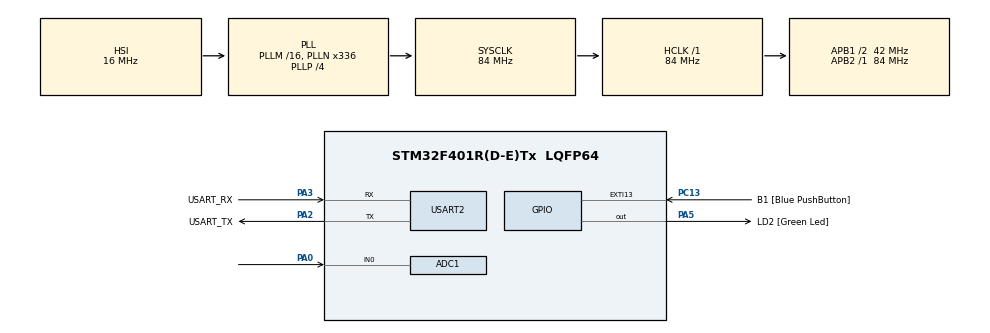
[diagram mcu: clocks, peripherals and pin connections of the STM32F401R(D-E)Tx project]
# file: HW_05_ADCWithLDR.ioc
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ADC1.Channel-1\#ChannelRegularConversion=ADC_CHANNEL_0
ADC1.DMAContinuousRequests=ENABLE
ADC1.ExternalTrigConv=ADC_EXTERNALTRIGCONV_T2_TRGO
ADC1.NbrOfConversion=1
ADC1.NbrOfConversionFlag=1
ADC1.Rank-1\#ChannelRegularConversion=1
ADC1.SamplingTime-1\#ChannelRegularConversion=ADC_SAMPLETIME_480CYCLES
ADC1.master=1
Dma.ADC1.0.Direction=DMA_PERIPH_TO_MEMORY
Dma.ADC1.0.FIFOMode=DMA_FIFOMODE_DISABLE
Dma.ADC1.0.Instance=DMA2_Stream0
Dma.ADC1.0.MemDataAlignment=DMA_MDATAALIGN_HALFWORD
Dma.ADC1.0.MemInc=DMA_MINC_ENABLE
Dma.ADC1.0.Mode=DMA_CIRCULAR
Dma.ADC1.0.PeriphDataAlignment=DMA_PDATAALIGN_HALFWORD
Dma.ADC1.0.PeriphInc=DMA_PINC_DISABLE
Dma.ADC1.0.Priority=DMA_PRIORITY_LOW
Dma.Request0=ADC1
Mcu.Family=STM32F4
Mcu.Name=STM32F401R(D-E)Tx
Mcu.Package=LQFP64
NVIC.ADC_IRQn=true\:0\:0\:false\:false\:true\:true\:true\:true
NVIC.DMA2_Stream0_IRQn=true\:0\:0\:false\:false\:true\:false\:true\:true
NVIC.PriorityGroup=NVIC_PRIORITYGROUP_0
PA0-WKUP.Signal=ADCx_IN0
PA13.GPIO_Label=TMS
PA13.Mode=Serial_Wire
PA13.Signal=SYS_JTMS-SWDIO
PA14.GPIO_Label=TCK
PA14.Mode=Serial_Wire
PA14.Signal=SYS_JTCK-SWCLK
PA2.GPIO_Label=USART_TX
PA2.GPIO_Mode=GPIO_MODE_AF_PP
PA2.GPIO_PuPd=GPIO_NOPULL
PA2.GPIO_Speed=GPIO_SPEED_FREQ_LOW
PA2.Mode=Asynchronous
PA2.Signal=USART2_TX
PA3.GPIO_Label=USART_RX
PA3.GPIO_Mode=GPIO_MODE_AF_PP
PA3.GPIO_PuPd=GPIO_NOPULL
PA3.GPIO_Speed=GPIO_SPEED_FREQ_LOW
PA3.Mode=Asynchronous
PA3.Signal=USART2_RX
PA5.GPIO_Label=LD2 [Green Led]
PA5.GPIO_Mode=GPIO_MODE_OUTPUT_PP
PA5.GPIO_PuPd=GPIO_NOPULL
PA5.GPIO_Speed=GPIO_SPEED_FREQ_LOW
PA5.Signal=GPIO_Output
PB3.GPIO_Label=SWO
PB3.Signal=SYS_JTDO-SWO
PC13-ANTI_TAMP.GPIO_Label=B1 [Blue PushButton]
PC13-ANTI_TAMP.GPIO_ModeDefaultEXTI=GPIO_MODE_IT_FALLING
PC13-ANTI_TAMP.GPIO_PuPd=GPIO_NOPULL
PC13-ANTI_TAMP.Signal=GPXTI13
PC14-OSC32_IN.Mode=LSE-External-Oscillator
PC14-OSC32_IN.Signal=RCC_OSC32_IN
PC15-OSC32_OUT.Mode=LSE-External-Oscillator
PC15-OSC32_OUT.Signal=RCC_OSC32_OUT
PH0\ -\ OSC_IN.Mode=HSE-External-Clock-Source
PH0\ -\ OSC_IN.Signal=RCC_OSC_IN
PH1\ -\ OSC_OUT.Mode=HSE-External-Clock-Source
PH1\ -\ OSC_OUT.Signal=RCC_OSC_OUT
ProjectManager.HeapSize=0x200
ProjectManager.StackSize=0x400
ProjectManager.TargetToolchain=STM32CubeIDE
RCC.48MHZClocksFreq_Value=48000000
RCC.AHBFreq_Value=84000000
RCC.APB1CLKDivider=RCC_HCLK_DIV2
RCC.APB1Freq_Value=42000000
RCC.APB1TimFreq_Value=84000000
RCC.APB2Freq_Value=84000000
RCC.APB2TimFreq_Value=84000000
RCC.CortexFreq_Value=84000000
RCC.HCLKFreq_Value=84000000
RCC.HSE_VALUE=8000000
RCC.HSI_VALUE=16000000
RCC.PLLN=336
RCC.PLLP=RCC_PLLP_DIV4
RCC.PLLQ=7
RCC.SYSCLKFreq_VALUE=84000000
RCC.SYSCLKSource=RCC_SYSCLKSOURCE_PLLCLK
RCC.VCOOutputFreq_Value=336000000
SH.ADCx_IN0.0=ADC1_IN0,IN0
TIM2.Period=84-1
TIM2.Prescaler=1000-1
TIM2.TIM_MasterOutputTrigger=TIM_TRGO_UPDATE
USART2.VirtualMode=VM_ASYNC
VP_TIM2_VS_ClockSourceINT.Mode=Internal
board=NUCLEO-F401RE

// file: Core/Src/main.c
/* USER CODE BEGIN Header */
/**
 ******************************************************************************
 * @file           : main.c
 * @brief          : Main program body
 ******************************************************************************
 * @attention
 *
 * Copyright (c) 2022 STMicroelectronics.
 * All rights reserved.
 *
 * This software is licensed under terms that can be found in the LICENSE file
 * in the root directory of this software component.
 * If no LICENSE file comes with this software, it is provided AS-IS.
 *
 ******************************************************************************
 */
/* USER CODE END Header */
#include "main.h"

/* USER CODE BEGIN Includes */
#include <stdio.h>
#include <math.h>
/* USER CODE END Includes */

ADC_HandleTypeDef hadc1;
DMA_HandleTypeDef hdma_adc1;

TIM_HandleTypeDef htim2;

UART_HandleTypeDef huart2;

/* USER CODE BEGIN PV */

void computeAvg(int half);
/* USER CODE END PV */

void SystemClock_Config(void);
static void MX_GPIO_Init(void);
static void MX_DMA_Init(void);
static void MX_USART2_UART_Init(void);
static void MX_ADC1_Init(void);
static void MX_TIM2_Init(void);

/* USER CODE BEGIN 0 */

// buffer of size 2000 for precise timing and avoiding overwriting data with DMA
uint16_t samples[2000];

// called after 1000 conversions (1 every 1 ms), so after 1 second
void HAL_ADC_ConvHalfCpltCallback(ADC_HandleTypeDef *hadc) {
	computeAvg(0);
}

// called after 2000 conversions (1 every 1 ms), so after 2 seconds
// this is called 1 second after the half complete callback
void HAL_ADC_ConvCpltCallback(ADC_HandleTypeDef *hadc) {
	computeAvg(1);
}

void computeAvg(int half) {
	float average = 0.0;
	for (int i = 0; i < 1000; i++) {
		average += (float) samples[i + half * 1000];
	}
	// converts values from 0 to 4096 to voltage (up to 3.3v)
	// average computation of the values over the last second of time
	average = average * (3.3 / 4096.0) / 1000.0;

	float ldr = ((average * 100000.0) / (3.3 - average)); // LDR output value
	float lux = 10.0 * pow((100000.0 / ldr), 1.25); // conversion from voltage to LUX
	char string[64]; // output
	int length = snprintf(string, sizeof(string), "Lux level = %.3f\r\n", lux);

	HAL_UART_Transmit(&huart2, (uint8_t*) string, length, 10);
}
/* USER CODE END 0 */

int main(void) {

	/* MCU Configuration--------------------------------------------------------*/

	/* Reset of all peripherals, Initializes the Flash interface and the Systick. */
	HAL_Init();

	/* Configure the system clock */
	SystemClock_Config();

	/* Initialize all configured peripherals */
	MX_GPIO_Init();
	MX_DMA_Init();
	MX_USART2_UART_Init();
	MX_ADC1_Init();
	MX_TIM2_Init();
	/* USER CODE BEGIN 2 */
	HAL_ADC_Start_DMA(&hadc1, (uint32_t*) samples, 2000);
	HAL_TIM_Base_Start(&htim2);
	/* USER CODE END 2 */

	/* Infinite loop */
	while (1) {

	}
}

void SystemClock_Config(void) {
	RCC_OscInitTypeDef RCC_OscInitStruct = { 0 };
	RCC_ClkInitTypeDef RCC_ClkInitStruct = { 0 };

	/** Configure the main internal regulator output voltage
	 */
	__HAL_RCC_PWR_CLK_ENABLE();
	__HAL_PWR_VOLTAGESCALING_CONFIG(PWR_REGULATOR_VOLTAGE_SCALE2);

	/** Initializes the RCC Oscillators according to the specified parameters
	 * in the RCC_OscInitTypeDef structure.
	 */
	RCC_OscInitStruct.OscillatorType = RCC_OSCILLATORTYPE_HSI;
	RCC_OscInitStruct.HSIState = RCC_HSI_ON;
	RCC_OscInitStruct.HSICalibrationValue = RCC_HSICALIBRATION_DEFAULT;
	RCC_OscInitStruct.PLL.PLLState = RCC_PLL_ON;
	RCC_OscInitStruct.PLL.PLLSource = RCC_PLLSOURCE_HSI;
	RCC_OscInitStruct.PLL.PLLM = 16;
	RCC_OscInitStruct.PLL.PLLN = 336;
	RCC_OscInitStruct.PLL.PLLP = RCC_PLLP_DIV4;
	RCC_OscInitStruct.PLL.PLLQ = 7;
	if (HAL_RCC_OscConfig(&RCC_OscInitStruct) != HAL_OK) {
		Error_Handler();
	}

	/** Initializes the CPU, AHB and APB buses clocks
	 */
	RCC_ClkInitStruct.ClockType = RCC_CLOCKTYPE_HCLK | RCC_CLOCKTYPE_SYSCLK | RCC_CLOCKTYPE_PCLK1 | RCC_CLOCKTYPE_PCLK2;
	RCC_ClkInitStruct.SYSCLKSource = RCC_SYSCLKSOURCE_PLLCLK;
	RCC_ClkInitStruct.AHBCLKDivider = RCC_SYSCLK_DIV1;
	RCC_ClkInitStruct.APB1CLKDivider = RCC_HCLK_DIV2;
	RCC_ClkInitStruct.APB2CLKDivider = RCC_HCLK_DIV1;

	if (HAL_RCC_ClockConfig(&RCC_ClkInitStruct, FLASH_LATENCY_2) != HAL_OK) {
		Error_Handler();
	}
}

static void MX_ADC1_Init(void) {

	ADC_ChannelConfTypeDef sConfig = { 0 };

	/** Configure the global features of the ADC (Clock, Resolution, Data Alignment and number of conversion)
	 */
	hadc1.Instance = ADC1;
	hadc1.Init.ClockPrescaler = ADC_CLOCK_SYNC_PCLK_DIV4;
	hadc1.Init.Resolution = ADC_RESOLUTION_12B;
	hadc1.Init.ScanConvMode = DISABLE;
	hadc1.Init.ContinuousConvMode = DISABLE;
	hadc1.Init.DiscontinuousConvMode = DISABLE;
	hadc1.Init.ExternalTrigConvEdge = ADC_EXTERNALTRIGCONVEDGE_RISING;
	hadc1.Init.ExternalTrigConv = ADC_EXTERNALTRIGCONV_T2_TRGO;
	hadc1.Init.DataAlign = ADC_DATAALIGN_RIGHT;
	hadc1.Init.NbrOfConversion = 1;
	hadc1.Init.DMAContinuousRequests = ENABLE;
	hadc1.Init.EOCSelection = ADC_EOC_SINGLE_CONV;
	if (HAL_ADC_Init(&hadc1) != HAL_OK) {
		Error_Handler();
	}

	/** Configure for the selected ADC regular channel its corresponding rank in the sequencer and its sample time.
	 */
	sConfig.Channel = ADC_CHANNEL_0;
	sConfig.Rank = 1;
	sConfig.SamplingTime = ADC_SAMPLETIME_480CYCLES;
	if (HAL_ADC_ConfigChannel(&hadc1, &sConfig) != HAL_OK) {
		Error_Handler();
	}

}

static void MX_TIM2_Init(void) {

	TIM_ClockConfigTypeDef sClockSourceConfig = { 0 };
	TIM_MasterConfigTypeDef sMasterConfig = { 0 };

	htim2.Instance = TIM2;
	htim2.Init.Prescaler = 1000 - 1;
	htim2.Init.CounterMode = TIM_COUNTERMODE_UP;
	htim2.Init.Period = 84 - 1;
	htim2.Init.ClockDivision = TIM_CLOCKDIVISION_DIV1;
	htim2.Init.AutoReloadPreload = TIM_AUTORELOAD_PRELOAD_DISABLE;
	if (HAL_TIM_Base_Init(&htim2) != HAL_OK) {
		Error_Handler();
	}
	sClockSourceConfig.ClockSource = TIM_CLOCKSOURCE_INTERNAL;
	if (HAL_TIM_ConfigClockSource(&htim2, &sClockSourceConfig) != HAL_OK) {
		Error_Handler();
	}
	sMasterConfig.MasterOutputTrigger = TIM_TRGO_UPDATE;
	sMasterConfig.MasterSlaveMode = TIM_MASTERSLAVEMODE_DISABLE;
	if (HAL_TIMEx_MasterConfigSynchronization(&htim2, &sMasterConfig) != HAL_OK) {
		Error_Handler();
	}

}

static void MX_USART2_UART_Init(void) {

	huart2.Instance = USART2;
	huart2.Init.BaudRate = 115200;
	huart2.Init.WordLength = UART_WORDLENGTH_8B;
	huart2.Init.StopBits = UART_STOPBITS_1;
	huart2.Init.Parity = UART_PARITY_NONE;
	huart2.Init.Mode = UART_MODE_TX_RX;
	huart2.Init.HwFlowCtl = UART_HWCONTROL_NONE;
	huart2.Init.OverSampling = UART_OVERSAMPLING_16;
	if (HAL_UART_Init(&huart2) != HAL_OK) {
		Error_Handler();
	}

}

static void MX_DMA_Init(void) {

	/* DMA controller clock enable */
	__HAL_RCC_DMA2_CLK_ENABLE();

	/* DMA interrupt init */
	/* DMA2_Stream0_IRQn interrupt configuration */
	HAL_NVIC_SetPriority(DMA2_Stream0_IRQn, 0, 0);
	HAL_NVIC_EnableIRQ(DMA2_Stream0_IRQn);

}

static void MX_GPIO_Init(void) {
	GPIO_InitTypeDef GPIO_InitStruct = { 0 };

	/* GPIO Ports Clock Enable */
	__HAL_RCC_GPIOC_CLK_ENABLE();
	__HAL_RCC_GPIOH_CLK_ENABLE();
	__HAL_RCC_GPIOA_CLK_ENABLE();
	__HAL_RCC_GPIOB_CLK_ENABLE();

	/*Configure GPIO pin Output Level */
	HAL_GPIO_WritePin(LD2_GPIO_Port, LD2_Pin, GPIO_PIN_RESET);

	/*Configure GPIO pin : B1_Pin */
	GPIO_InitStruct.Pin = B1_Pin;
	GPIO_InitStruct.Mode = GPIO_MODE_IT_FALLING;
	GPIO_InitStruct.Pull = GPIO_NOPULL;
	HAL_GPIO_Init(B1_GPIO_Port, &GPIO_InitStruct);

	/*Configure GPIO pin : LD2_Pin */
	GPIO_InitStruct.Pin = LD2_Pin;
	GPIO_InitStruct.Mode = GPIO_MODE_OUTPUT_PP;
	GPIO_InitStruct.Pull = GPIO_NOPULL;
	GPIO_InitStruct.Speed = GPIO_SPEED_FREQ_LOW;
	HAL_GPIO_Init(LD2_GPIO_Port, &GPIO_InitStruct);

}

void Error_Handler(void) {
	__disable_irq();
	while (1) {
	}
}
